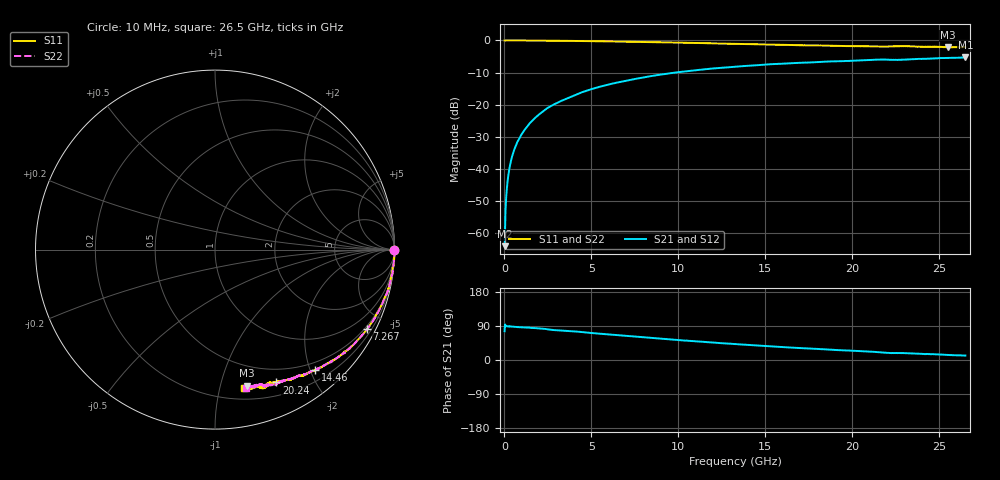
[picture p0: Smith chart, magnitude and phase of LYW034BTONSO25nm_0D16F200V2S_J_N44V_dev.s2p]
!Keysight Technologies,N5222B,MY61253708,A.15.00.15
!Date: Wednesday, June 19, 2024 09:03:26
!Correction: S11(C  2-Port  )
!S21(C  2-Port  )
!S12(C  2-Port  )
!S22(C  2-Port  )
!S2P File: Measurements: S11, S21, S12, S22:
# Hz S  RI  R 50
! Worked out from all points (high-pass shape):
!   2651 points, 10 MHz to 26.5 GHz, reference 50 ohm
!   highest |S21| = -5.28 dB at 26.5 GHz (marker M1); lowest = -64.2 dB at 10 MHz (marker M2)
!   |S21| within 3 dB of the highest: 13.00213 GHz to 13.01112 GHz (8.987 MHz wide, 0.0691 % of centre); 13.05 GHz to end of sweep
!   lowest |S11| = -2.2 dB at 25.5 GHz (marker M3), VSWR 8.05, Z = 15.7 - j60.6 ohm
!   |S11| at or under -10 dB: nowhere
!   |S22| runs from -2.1 to 0.0 dB; largest |S21 - S12| = 0.0073
!   S11 on the Smith chart (normalised r, x): 10 MHz: open; 7.267 GHz: 0.39, -4.02; 14.46 GHz: 0.37, -2.07; 20.24 GHz: 0.34, -1.51; 26.5 GHz: 0.29, -1.19
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1e7  0.9987 -0.00205  0.00015 0.000597  -3.67e-05 0.000584  0.9988 -0.000989
7.997358e7  0.9998 -0.00586  4.85e-05 0.00285  4.61e-07 0.00283  0.9993 -0.00545
1.699396e8  0.9998 -0.0122  7.42e-05 0.00599  6.89e-05 0.00603  0.9996 -0.0116
2.199208e8  0.9996 -0.0159  0.000139 0.00772  0.000144 0.00777  0.9992 -0.015
2.898943e8  0.9996 -0.0208  0.000255 0.0102  0.000256 0.0102  0.9995 -0.0201
3.998528e8  0.999 -0.0284  0.000439 0.014  0.000376 0.0142  0.9992 -0.0274
5.398e8  0.999 -0.0377  0.000661 0.0189  0.000739 0.0191  0.9987 -0.0372
8.996642e8  0.9971 -0.0628  0.00194 0.0312  0.00196 0.0315  0.9969 -0.0616
1.509434e9  0.9891 -0.1051  0.00488 0.0526  0.00487 0.0529  0.9919 -0.1026
2.369109e9  0.9797 -0.1605  0.012 0.0836  0.0122 0.084  0.981 -0.1609
3.228785e9  0.9657 -0.2173  0.0239 0.1101  0.0242 0.1108  0.9673 -0.2147
4.428332e9  0.9365 -0.2905  0.0429 0.1485  0.0433 0.1494  0.9381 -0.288
7.26726e9  0.8463 -0.4437  0.112 0.2164  0.113 0.2172  0.8483 -0.4422
8.846664e9  0.7862 -0.5132  0.1574 0.2429  0.1588 0.2438  0.7877 -0.512
1.3255e10  0.6037 -0.6476  0.2891 0.2612  0.2911 0.2612  0.6068 -0.6466
1.446454e10  0.5567 -0.6718  0.3204 0.2561  0.322 0.2559  0.5597 -0.6676
1.767333e10  0.4282 -0.7194  0.3946 0.2268  0.3978 0.2257  0.439 -0.7173
2.024236e10  0.3414 -0.7398  0.4442 0.196  0.4465 0.1947  0.3556 -0.739
2.209166e10  0.295 -0.7455  0.474 0.1604  0.4754 0.1585  0.2887 -0.7522
2.308129e10  0.2661 -0.7733  0.4786 0.1559  0.4793 0.156  0.2661 -0.7544
2.550038e10  0.1782 -0.7584  0.5202 0.1213  0.5214 0.1224  0.1984 -0.763
2.65e10  0.1602 -0.7731  0.5334 0.1104  0.5325 0.1076  0.1724 -0.7723
